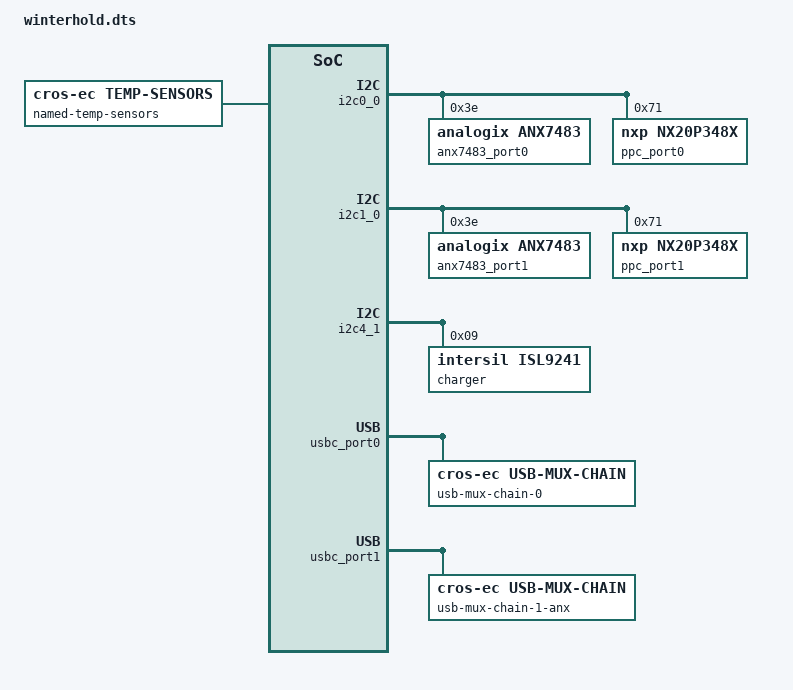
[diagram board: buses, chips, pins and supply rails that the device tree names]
/* Copyright 2021 The ChromiumOS Authors
 * Use of this source code is governed by a BSD-style license that can be
 * found in the LICENSE file.
 */

#include <dt-bindings/usbc_mux.h>

#include "i2c_common.dtsi"

/ {
	named-gpios {
		/* Winterhold-specific GPIO customizations */
	};

	named-temp-sensors {
		compatible = "cros-ec,temp-sensors";
		soc-pct2075 {
			temp_host_high = <100>;
			temp_host_halt = <105>;
			temp_host_release_high = <80>;
			temp_host_release_halt = <80>;
			temp_fan_off = <0>;
			temp_fan_max = <70>;
			power-good-pin = <&gpio_pg_pwr_s5>;
			sensor = <&soc_pct2075>;
		};
		amb-pct2075 {
			power-good-pin = <&gpio_pg_pwr_s5>;
			sensor = <&amb_pct2075>;
		};
	};

	/*
	 * Note this is expected to vary per-board, so we keep it in the board
	 * dts files.
	 */
	Winterhold-fw-config {
		compatible = "cros-ec,cbi-fw-config";

		/*
		 * FW_CONFIG field to enable KB back light or not.
		 */
		kb-bl {
			enum-name = "FW_KB_BL";
			start = <1>;
			size = <1>;

			no-kb-bl {
				compatible = "cros-ec,cbi-fw-config-value";
				enum-name = "FW_KB_BL_NOT_PRESENT";
				value = <0>;
			};
			kb-bl-present {
				compatible = "cros-ec,cbi-fw-config-value";
				enum-name = "FW_KB_BL_PRESENT";
				value = <1>;
			};
		};
	};

	/* Rotation matrices for motion sensors. */
	motionsense-rotation-ref {
		compatible = "cros-ec,motionsense-rotation-ref";
		lid_rot_ref: lid-rotation-ref {
			mat33 = <0 (-1) 0
				 1 0 0
				 0 0 1>;
		};

		base_rot_ref: base-rotation-ref {
			mat33 = <0 1 0
				 (-1) 0 0
				 0 0 1>;
		};
	};
};

&i2c0_0 {
	anx7483_port0: anx7483@3e {
		compatible = "analogix,anx7483";
		reg = <0x3e>;
		board-set = "board_anx7483_c0_mux_set";
	};
	ppc_port0: nx20p348x@71 {
		compatible = "nxp,nx20p348x";
		status = "okay";
		reg = <0x71>;
	};
};

&i2c1_0 {
	anx7483_port1: anx7483@3e {
		compatible = "analogix,anx7483";
		reg = <0x3e>;
		board-set = "board_anx7483_c1_mux_set";
	};
	ppc_port1: nx20p348x@71 {
		compatible = "nxp,nx20p348x";
		status = "okay";
		reg = <0x71>;
	};
};

&i2c4_1 {
	charger: isl9241@9 {
		compatible = "intersil,isl9241";
		status = "okay";
		reg = <0x9>;
	};
};

&usbc_port0 {
	ppc = <&ppc_port0>;
	usb-mux-chain-0 {
		compatible = "cros-ec,usb-mux-chain";
		usb-muxes = <&amd_fp6_port0 &anx7483_port0>;
	};
};

&usbc_port1 {
	ppc = <&ppc_port1>;
	usb-mux-chain-1-anx {
		compatible = "cros-ec,usb-mux-chain";
		usb-muxes = <&amd_fp6_port1 &anx7483_port1>;
	};
};
